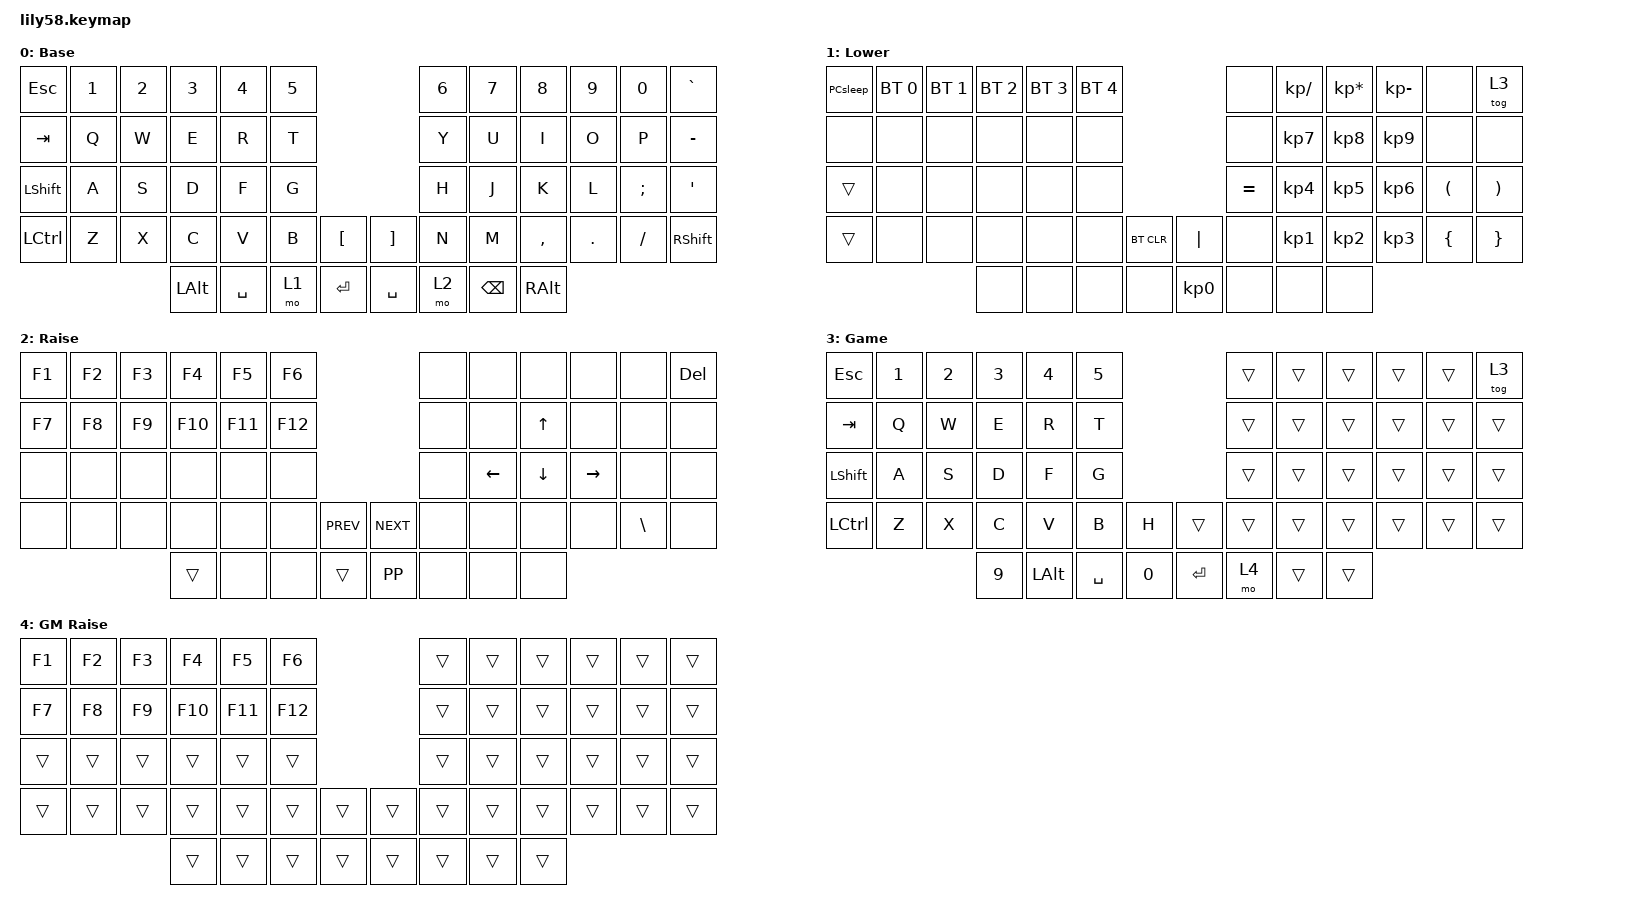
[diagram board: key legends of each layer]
/*
 * Copyright (c) 2020 The ZMK Contributors
 *
 * SPDX-License-Identifier: MIT
 */

#include <behaviors.dtsi>
#include <dt-bindings/zmk/bt.h>
#include <dt-bindings/zmk/keys.h>

/ {
    macros {
        PCsleep: PCsleep {
            compatible = "zmk,behavior-macro";
            #binding-cells = <0>;
            bindings =
                <&macro_tap>,
                <&macro_wait_time 3>,
                <&kp LG(X) &kp U &kp S>;

            label = "PCSLEEP";
            wait-ms = <2>;
        };

        deleteLine: deleteLine {
            compatible = "zmk,behavior-macro";
            #binding-cells = <0>;
            bindings = <&kt LEFT_SHIFT &kt HOME &kp DELETE &kt HOME &kt LEFT_SHIFT>;
            label = "DELETELINE";
        };
    };

    combos {
        compatible = "zmk,combos";

        deleteLine {
            bindings = <&deleteLine>;
            key-positions = <56 50>;
        };
    };

    keymap {
        compatible = "zmk,keymap";

        default_layer {
            // ------------------------------------------------------------------------------------------------------------
            // |  ESC  |  1  |  2  |  3   |  4   |  5   |                   |  6   |  7    |  8    |  9   |   0   |   `   |
            // |  TAB  |  Q  |  W  |  E   |  R   |  T   |                   |  Y   |  U    |  I    |  O   |   P   |   -   |
            // |  CTRL |  A  |  S  |  D   |  F   |  G   |                   |  H   |  J    |  K    |  L   |   ;   |   '   |
            // | SHIFT |  Z  |  X  |  C   |  V   |  B   |   "["  |  |  "]"  |  N   |  M    |  ,    |  .   |   /   | SHIFT |
            //                     | ALT  | GUI  | LOWER|  SPACE |  | ENTER | RAISE| BSPC  | GUI   |

            display-name = "Base";
            bindings = <
&kp ESC           &kp N1  &kp N2  &kp N3    &kp N4     &kp N5                           &kp N6  &kp N7    &kp N8         &kp N9   &kp N0    &kp GRAVE
&kp TAB           &kp Q   &kp W   &kp E     &kp R      &kp T                            &kp Y   &kp U     &kp I          &kp O    &kp P     &kp MINUS
&kp LEFT_SHIFT    &kp A   &kp S   &kp D     &kp F      &kp G                            &kp H   &kp J     &kp K          &kp L    &kp SEMI  &kp SQT
&kp LEFT_CONTROL  &kp Z   &kp X   &kp C     &kp V      &kp B   &kp LBKT      &kp RBKT   &kp N   &kp M     &kp COMMA      &kp DOT  &kp FSLH  &kp RSHFT
                                  &kp LALT  &kp SPACE  &mo 1   &kp RETURN    &kp SPACE  &mo 2   &kp BSPC  &kp RIGHT_ALT
            >;
        };

        lower_layer {
            // ------------------------------------------------------------------------------------------------------------
            // | BTCLR | BT1 | BT2 |  BT3 |  BT4 |  BT5 |                   |      |       |       |      |       |       |
            // |  F1   |  F2 |  F3 |  F4  |  F5  |  F6  |                   |  F7  |  F8   |  F9   |  F10 |  F11  |  F12  |
            // |   `   |  !  |  @  |  #   |  $   |  %   |                   |  ^   |  &    |  *    |  (   |   )   |   ~   |
            // |       |     |     |      |      |      |        |  |       |      |  _    |  +    |  {   |   }   |  "|"  |
            //                     |      |      |      |        |  |       |      |       |       |

            display-name = "Lower";
            bindings = <
&PCsleep  &bt BT_SEL 0  &bt BT_SEL 1  &bt BT_SEL 2  &bt BT_SEL 3  &bt BT_SEL 4                                 &none      &kp KP_DIVIDE    &kp KP_MULTIPLY  &kp KP_MINUS  &none                 &tog 3
&none     &none         &none         &none         &none         &none                                        &none      &kp KP_NUMBER_7  &kp KP_NUMBER_8  &kp KP_N9     &none                 &none
&trans    &none         &none         &none         &none         &none                                        &kp EQUAL  &kp KP_NUMBER_4  &kp KP_NUMBER_5  &kp KP_N6     &kp LEFT_PARENTHESIS  &kp RIGHT_PARENTHESIS
&trans    &none         &none         &none         &none         &none         &bt BT_CLR    &kp PIPE         &none      &kp KP_NUMBER_1  &kp KP_NUMBER_2  &kp KP_N3     &kp LEFT_BRACE        &kp RIGHT_BRACE
                                      &none         &none         &none         &none         &kp KP_NUMBER_0  &none      &none            &none
            >;
        };

        raise_layer {
            // ------------------------------------------------------------------------------------------------------------
            // |       |     |     |      |      |      |                   |      |       |       |      |       |       |
            // |   `   |  1  |  2  |  3   |  4   |  5   |                   |  6   |   7   |   8   |  9   |   0   |       |
            // |   F1  |  F2 |  F3 |  F4  |  F5  |  F6  |                   |      |   <-  |   v   |  ^   |  ->   |       |
            // |   F7  |  F8 |  F9 |  F10 |  F11 |  F12 |        |  |       |  +   |   -   |   =   |  [   |   ]   |   \   |
            //                     |      |      |      |        |  |       |      |       |       |

            display-name = "Raise";
            bindings = <
&kp F1  &kp F2  &kp F3  &kp F4   &kp F5   &kp F6                             &none  &none     &none     &none      &none          &kp DEL
&kp F7  &kp F8  &kp F9  &kp F10  &kp F11  &kp F12                            &none  &none     &kp UP    &none      &none          &none
&none   &none   &none   &none    &none    &none                              &none  &kp LEFT  &kp DOWN  &kp RIGHT  &none          &none
&none   &none   &none   &none    &none    &none    &kp K_PREV    &kp K_NEXT  &none  &none     &none     &none      &kp BACKSLASH  &none
                        &trans   &none    &none    &trans        &kp K_PP    &none  &none     &none
            >;
        };

        gaming_layer {
            display-name = "Game";
            bindings = <
&kp ESC           &kp N1  &kp N2  &kp N3  &kp N4    &kp N5                          &trans  &trans  &trans  &trans  &trans  &tog 3
&kp TAB           &kp Q   &kp W   &kp E   &kp R     &kp T                           &trans  &trans  &trans  &trans  &trans  &trans
&kp LEFT_SHIFT    &kp A   &kp S   &kp D   &kp F     &kp G                           &trans  &trans  &trans  &trans  &trans  &trans
&kp LEFT_CONTROL  &kp Z   &kp X   &kp C   &kp V     &kp B      &kp H     &trans     &trans  &trans  &trans  &trans  &trans  &trans
                                  &kp N9  &kp LALT  &kp SPACE  &kp N0    &kp ENTER  &mo 4   &trans  &trans
            >;
        };

        gaming_raise_layer {
            display-name = "GM Raise";
            bindings = <
&kp F1  &kp F2  &kp F3  &kp F4   &kp F5   &kp F6                     &trans  &trans  &trans  &trans  &trans  &trans
&kp F7  &kp F8  &kp F9  &kp F10  &kp F11  &kp F12                    &trans  &trans  &trans  &trans  &trans  &trans
&trans  &trans  &trans  &trans   &trans   &trans                     &trans  &trans  &trans  &trans  &trans  &trans
&trans  &trans  &trans  &trans   &trans   &trans   &trans    &trans  &trans  &trans  &trans  &trans  &trans  &trans
                        &trans   &trans   &trans   &trans    &trans  &trans  &trans  &trans
            >;
        };
    };
};
